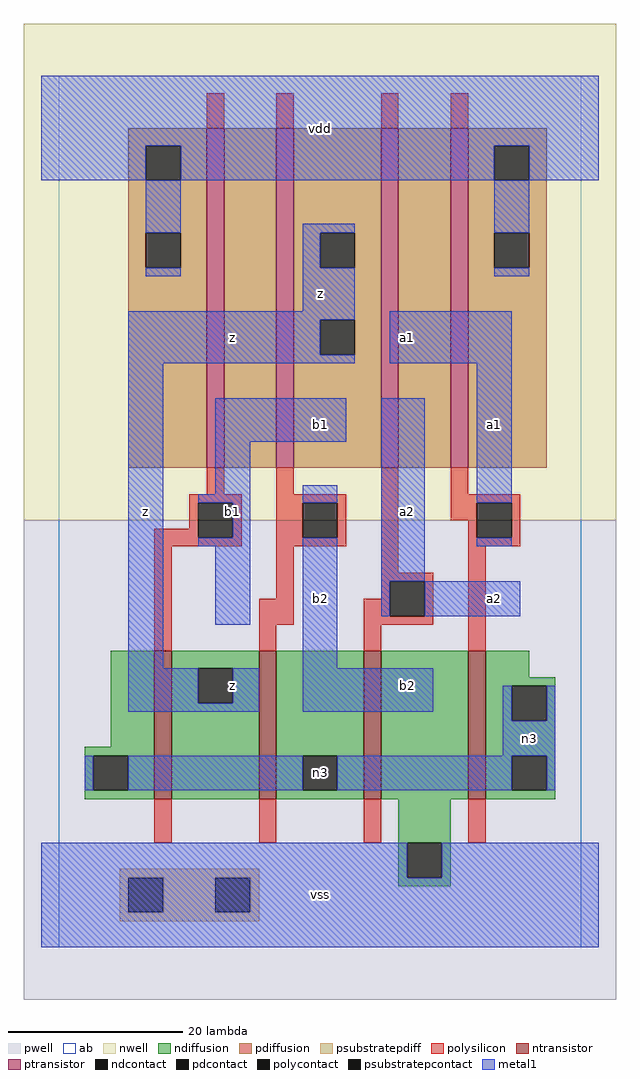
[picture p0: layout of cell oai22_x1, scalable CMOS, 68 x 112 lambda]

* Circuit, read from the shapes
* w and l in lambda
.subckt oai22_x1 a1 a2 b1 b2 n3 vdd vss z
M1 z b1 n3 vss nfet w=17 l=2
M2 n3 b2 z vss nfet w=17 l=2
M3 vss a2 n3 vss nfet w=17 l=2
M4 n3 a1 vss vss nfet w=17 l=2
M5 n1 b1 vdd n2 pfet w=39 l=2
M6 z b2 n1 n2 pfet w=39 l=2
M7 n4 a2 z n2 pfet w=39 l=2
M8 vdd a1 n4 n2 pfet w=39 l=2
.ends

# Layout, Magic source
magic
tech scmos
<< ab >>
rect 0 0 60 100
<< pwell >>
rect -4 -6 64 49
<< nwell >>
rect -4 49 64 106
<< polysilicon >>
rect 17 94 19 98
rect 25 94 27 98
rect 37 94 39 98
rect 45 94 47 98
rect 17 52 19 55
rect 25 52 27 55
rect 15 51 21 52
rect 15 48 16 51
rect 11 47 16 48
rect 20 47 21 51
rect 11 46 21 47
rect 25 51 33 52
rect 25 47 28 51
rect 32 47 33 51
rect 25 46 33 47
rect 11 34 13 46
rect 25 40 27 46
rect 37 43 39 55
rect 45 52 47 55
rect 45 51 53 52
rect 45 49 48 51
rect 47 47 48 49
rect 52 47 53 51
rect 47 46 53 47
rect 37 42 43 43
rect 37 40 38 42
rect 23 37 27 40
rect 35 38 38 40
rect 42 38 43 42
rect 35 37 43 38
rect 23 34 25 37
rect 35 34 37 37
rect 47 34 49 46
rect 11 12 13 17
rect 23 12 25 17
rect 35 12 37 17
rect 47 12 49 17
<< ndiffusion >>
rect 6 23 11 34
rect 3 22 11 23
rect 3 18 4 22
rect 8 18 11 22
rect 3 17 11 18
rect 13 32 23 34
rect 13 28 16 32
rect 20 28 23 32
rect 13 17 23 28
rect 25 22 35 34
rect 25 18 28 22
rect 32 18 35 22
rect 25 17 35 18
rect 37 17 47 34
rect 49 31 54 34
rect 49 30 57 31
rect 49 26 52 30
rect 56 26 57 30
rect 49 22 57 26
rect 49 18 52 22
rect 56 18 57 22
rect 49 17 57 18
rect 39 12 45 17
rect 39 8 40 12
rect 44 8 45 12
rect 39 7 45 8
<< pdiffusion >>
rect 8 92 17 94
rect 8 88 10 92
rect 14 88 17 92
rect 8 82 17 88
rect 8 78 10 82
rect 14 78 17 82
rect 8 55 17 78
rect 19 55 25 94
rect 27 82 37 94
rect 27 78 30 82
rect 34 78 37 82
rect 27 72 37 78
rect 27 68 30 72
rect 34 68 37 72
rect 27 55 37 68
rect 39 55 45 94
rect 47 92 56 94
rect 47 88 50 92
rect 54 88 56 92
rect 47 82 56 88
rect 47 78 50 82
rect 54 78 56 82
rect 47 55 56 78
<< metal1 >>
rect -2 92 62 100
rect -2 88 10 92
rect 14 88 50 92
rect 54 88 62 92
rect 10 82 14 88
rect 10 77 14 78
rect 28 82 34 83
rect 28 78 30 82
rect 28 73 34 78
rect 50 82 54 88
rect 50 77 54 78
rect 8 72 34 73
rect 8 68 30 72
rect 8 67 34 68
rect 38 67 52 73
rect 8 32 12 67
rect 18 58 33 63
rect 18 52 22 58
rect 16 51 22 52
rect 20 47 22 51
rect 16 46 22 47
rect 18 37 22 46
rect 28 51 32 53
rect 28 32 32 47
rect 37 42 42 63
rect 48 51 52 67
rect 48 46 52 47
rect 37 38 38 42
rect 42 38 53 42
rect 8 28 16 32
rect 20 28 23 32
rect 8 27 23 28
rect 28 27 43 32
rect 51 26 52 30
rect 56 26 57 30
rect 51 22 57 26
rect 3 18 4 22
rect 8 18 28 22
rect 32 18 52 22
rect 56 18 57 22
rect -2 8 40 12
rect 44 8 62 12
rect -2 0 62 8
<< ntransistor >>
rect 11 17 13 34
rect 23 17 25 34
rect 35 17 37 34
rect 47 17 49 34
<< ptransistor >>
rect 17 55 19 94
rect 25 55 27 94
rect 37 55 39 94
rect 45 55 47 94
<< polycontact >>
rect 16 47 20 51
rect 28 47 32 51
rect 48 47 52 51
rect 38 38 42 42
<< ndcontact >>
rect 4 18 8 22
rect 16 28 20 32
rect 28 18 32 22
rect 52 26 56 30
rect 52 18 56 22
rect 40 8 44 12
<< pdcontact >>
rect 10 88 14 92
rect 10 78 14 82
rect 30 78 34 82
rect 30 68 34 72
rect 50 88 54 92
rect 50 78 54 82
<< psubstratepcontact >>
rect 8 4 12 8
rect 18 4 22 8
<< psubstratepdiff >>
rect 7 8 23 9
rect 7 4 8 8
rect 12 4 18 8
rect 22 4 23 8
rect 7 3 23 4
<< labels >>
rlabel metal1 20 30 20 30 6 z
rlabel metal1 20 30 20 30 6 z
rlabel metal1 10 50 10 50 6 z
rlabel metal1 10 50 10 50 6 z
rlabel metal1 20 50 20 50 6 b1
rlabel metal1 20 50 20 50 6 b1
rlabel metal1 20 70 20 70 6 z
rlabel metal1 20 70 20 70 6 z
rlabel metal1 30 6 30 6 6 vss
rlabel metal1 30 6 30 6 6 vss
rlabel metal1 30 40 30 40 6 b2
rlabel metal1 30 40 30 40 6 b2
rlabel metal1 30 60 30 60 6 b1
rlabel metal1 30 60 30 60 6 b1
rlabel metal1 30 75 30 75 6 z
rlabel metal1 30 75 30 75 6 z
rlabel metal1 30 94 30 94 6 vdd
rlabel metal1 30 94 30 94 6 vdd
rlabel metal1 40 30 40 30 6 b2
rlabel metal1 40 30 40 30 6 b2
rlabel metal1 40 50 40 50 6 a2
rlabel metal1 40 50 40 50 6 a2
rlabel metal1 40 70 40 70 6 a1
rlabel metal1 40 70 40 70 6 a1
rlabel metal1 54 24 54 24 6 n3
rlabel ndcontact 30 20 30 20 6 n3
rlabel metal1 50 40 50 40 6 a2
rlabel metal1 50 40 50 40 6 a2
rlabel metal1 50 60 50 60 6 a1
rlabel metal1 50 60 50 60 6 a1
<< end >>
